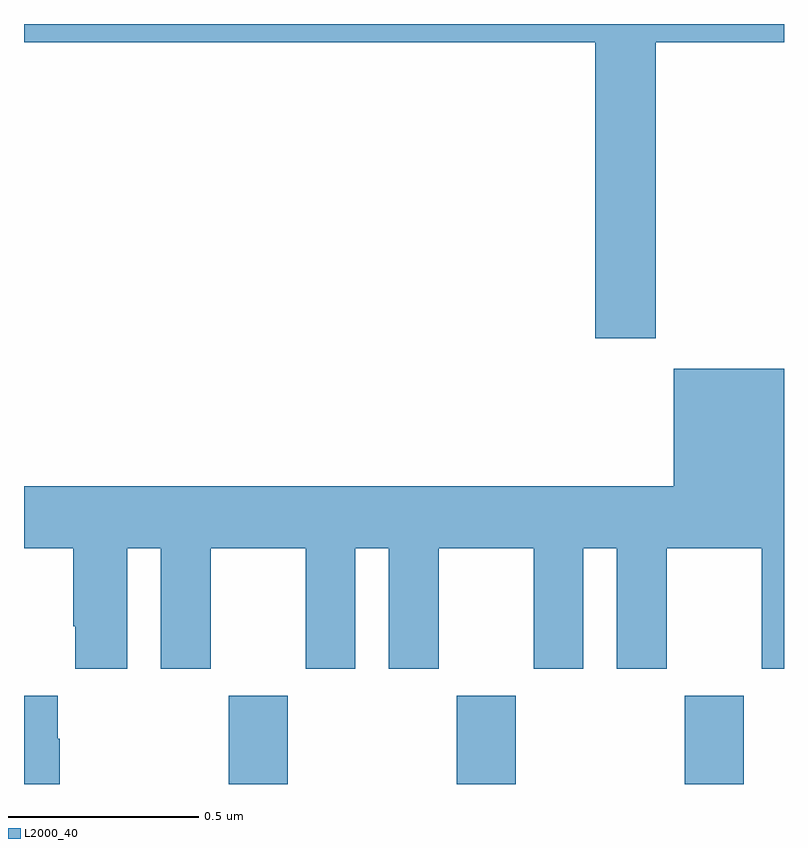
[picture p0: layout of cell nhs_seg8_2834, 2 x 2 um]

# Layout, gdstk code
import gdstk
lib = gdstk.Library(unit=1e-6, precision=1e-09)
def R(c, l, rs):  # rectangles x0, y0, x1, y1
    for r in rs: c.add(gdstk.rectangle(r[:2], r[2:], *l))
def A(c, l, x, y, w, h, nx, ny, dx, dy):  # array of equal rectangles
    R(c, l, [(x+i*dx, y+j*dy, x+i*dx+w, y+j*dy+h) for i in range(nx) for j in range(ny)])
def P(c, l, *ps):  # polygons
    for p in ps: c.add(gdstk.Polygon(p, *l))
L2000_40 = (2000, 40)

nhs_seg8_2834 = lib.new_cell('nhs_seg8_2834')
A(nhs_seg8_2834, L2000_40, 149.539, 1095.9, 0.155, 0.232, 3, 1, 0.6, 0)
P(nhs_seg8_2834, L2000_40, [(150.663,1097.852),(151,1097.852),(151,1097.9),(149,1097.9),(149,1097.852),(150.503,1097.852),(150.503,1097.073),(150.663,1097.073)],
  [(149.272,1096.52),(149.36,1096.52),(149.36,1096.203),(149.491,1096.203),(149.491,1096.52),(149.741,1096.52),(149.741,1096.203),(149.872,1096.203),(149.872,1096.52),(149.96,1096.52),(149.96,1096.203),(150.091,1096.203),(150.091,1096.52),(150.341,1096.52),(150.341,1096.203),(150.472,1096.203),(150.472,1096.52),(150.56,1096.52),(150.56,1096.203),(150.691,1096.203),(150.691,1096.52),(150.941,1096.52),(150.941,1096.203),(151,1096.203),(151,1096.993),(150.71,1096.993),(150.71,1096.684),(149,1096.684),(149,1096.52),(149.129,1096.52),(149.129,1096.315),(149.135,1096.315),(149.135,1096.203),(149.272,1096.203)],
  [(149.094,1096.019),(149.089,1096.019),(149.089,1096.132),(149,1096.132),(149,1095.9),(149.094,1095.9)])

lib.write_gds('nhs_seg8_2834.gds')
